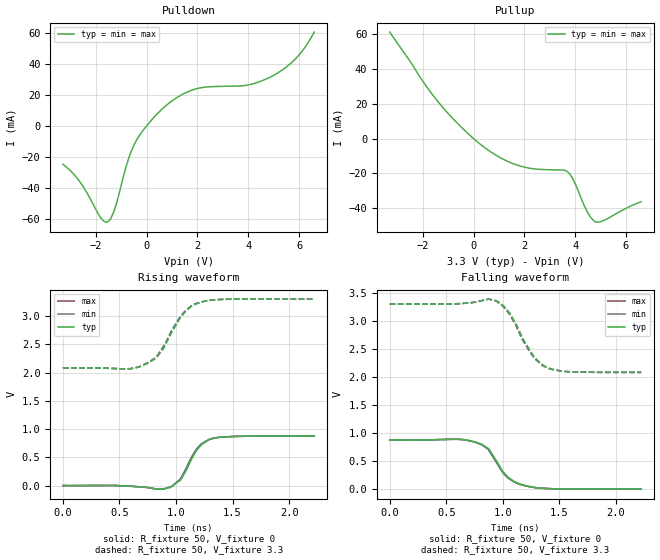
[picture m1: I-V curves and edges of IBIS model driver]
| IBIS file ex2_weak_tr20ps.ibs created by PYS2IBIS3
| Missouri S&T EMC Lab
[IBIS Ver] 7.1
[File Name] ex2_weak_tr20ps.ibs
[File Rev] 1.0
[Date] July 28, 2026
[Source] ex2 variant 'weak' -- output stage at half width
[Notes] Parameter selection; sim_time=2.222e-09, tr=tf=2.000e-11.
[Disclaimer] Experimental characterization for pybis observability study.
[Component] MCM Driver 1
[Manufacturer] MegaFLOPS Inc.
[Package]
| variable   typ   min   max
R_pkg 0 NA NA
L_pkg 0H NA NA
C_pkg 0F NA NA
[Pin]  signal_name   model_name   R_pin   L_pin   C_pin
vdd   vdd   POWER
gnd   gnd   GND
| in in dummy
out   out   driver
| End of Component
| Models and submodels in the file (1): driver (Output)
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[Model] driver
Model_type Output
Polarity Non-Inverting
Enable Active-Low
Vinl  = 0.8V
Vinh  = 2V
C_comp 5.0000pF 5.0000pF 5.0000pF
[Temperature Range] 27.0000 27.0000 27.0000
[Voltage Range] 3.3000V 3.3000V 3.3000V
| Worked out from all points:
|   slope of the pulldown table from 0 to 0.495 V, typ, clamps not added: 54.7 ohm
|   slope of the pullup table from 0 to 0.495 V, typ, clamps not added: 85.1 ohm
|   rising waveform, R_fixture 50, V_fixture 0: 20-80 % time 151ps typ, 151ps min, 151ps max; typ from 0 V to 0.876 V
|   rising waveform, R_fixture 50, V_fixture 3.3: 20-80 % time 223ps typ, 221ps min, 221ps max; typ from 2.08 V to 3.3 V
|   falling waveform, R_fixture 50, V_fixture 0: 20-80 % time 191ps typ, 190ps min, 190ps max; typ from 0.876 V to 0 V
|   falling waveform, R_fixture 50, V_fixture 3.3: 20-80 % time 208ps typ, 208ps min, 208ps max; typ from 3.3 V to 2.08 V
[Pulldown]
| Voltage   I(typ)   I(min)   I(max)
-3.3V     -24.71mA   -24.71mA   -24.71mA
-2.6V     -36.69mA   -36.69mA   -36.69mA
-1.8V     -59.35mA   -59.35mA   -59.35mA
-1.5V     -61.44mA   -61.44mA   -61.44mA
-1.3V     -55.57mA   -55.57mA   -55.57mA
-500mV    -12.32mA   -12.32mA   -12.32mA
600mV     10.7mA     10.7mA     10.7mA
1.9V      23.61mA    23.61mA    23.61mA
3.9V      26.05mA    26.05mA    26.05mA
4.9V      31.7mA     31.7mA     31.7mA
5.9V      43.88mA    43.88mA    43.88mA
6.6V      60.38mA    60.38mA    60.38mA
[Pullup]
| Voltage   I(typ)   I(min)   I(max)
-3.3V     61.37mA    61.37mA    61.37mA
-1.9V     30.97mA    30.97mA    30.97mA
-1.3V     19.49mA    19.49mA    19.49mA
-200mV    2.648mA    2.648mA    2.648mA
700mV     -7.897mA   -7.897mA   -7.897mA
2V        -16.47mA   -16.47mA   -16.47mA
3.7V      -19.09mA   -19.09mA   -19.09mA
3.9V      -22.93mA   -22.93mA   -22.93mA
4.5V      -42.81mA   -42.81mA   -42.81mA
4.8V      -48.13mA   -48.13mA   -48.13mA
5.1V      -47.39mA   -47.39mA   -47.39mA
6.6V      -36.41mA   -36.41mA   -36.41mA
[Ramp]
| variable   typ   min   max
dV/dt_r 0.5258/0.1509n 0.5258/0.1508n 0.5258/0.1508n
dV/dt_f 0.7308/0.2079n 0.7308/0.2078n 0.7308/0.2078n
R_load = 50
[Rising Waveform]
R_fixture = 50
V_fixture = 0
|time   V(typ)   V(min)   V(max)
0s        5.892nV    5.892nV    5.892nV
460.5ps   2.14mV     1.267mV    1.267mV
892ps     -60.52mV   -56.16mV   -56.16mV
961ps     -18.76mV   -17.4mV    -17.4mV
1.039ns   92mV       114.7mV    114.7mV
1.179ns   611mV      639.7mV    639.7mV
1.224ns   719.9mV    735.9mV    735.9mV
1.292ns   809mV      817.9mV    817.9mV
1.459ns   865.4mV    866.1mV    866.1mV
2.222ns   876.3mV    876.3mV    876.3mV
[Rising Waveform]
R_fixture = 50
V_fixture = 3.3
|time   V(typ)   V(min)   V(max)
0s        2.081V     2.081V     2.081V
593.9ps   2.067V     2.068V     2.068V
740.7ps   2.152V     2.161V     2.161V
825.3ps   2.257V     2.27V      2.27V
889.8ps   2.421V     2.459V     2.459V
956.5ps   2.686V     2.727V     2.727V
1.065ns   3.033V     3.057V     3.057V
1.132ns   3.163V     3.174V     3.174V
1.241ns   3.256V     3.261V     3.261V
2.222ns   3.3V       3.3V       3.3V
[Falling Waveform]
R_fixture = 50
V_fixture = 0
|time   V(typ)   V(min)   V(max)
0s        876.4mV    876.4mV    876.4mV
576.1ps   891mV      891.7mV    891.7mV
751.9ps   847.5mV    840.3mV    840.3mV
876.4ps   718.1mV    692.2mV    692.2mV
994.3ps   335.2mV    306.6mV    306.6mV
1.043ns   222.1mV    204mV      204mV
1.101ns   137.2mV    128.7mV    128.7mV
1.203ns   61.14mV    56.45mV    56.45mV
1.419ns   7.911mV    7.349mV    7.349mV
2.222ns   24.84uV    17.78uV    17.78uV
[Falling Waveform]
R_fixture = 50
V_fixture = 3.3
|time   V(typ)   V(min)   V(max)
0s        3.3V       3.3V       3.3V
578.4ps   3.304V     3.304V     3.304V
872ps     3.387V     3.39V      3.39V
947.6ps   3.358V     3.347V     3.347V
1.063ns   3.137V     3.108V     3.108V
1.175ns   2.696V     2.661V     2.661V
1.248ns   2.448V     2.417V     2.417V
1.366ns   2.197V     2.19V      2.19V
1.582ns   2.095V     2.094V     2.094V
2.222ns   2.082V     2.082V     2.082V
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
